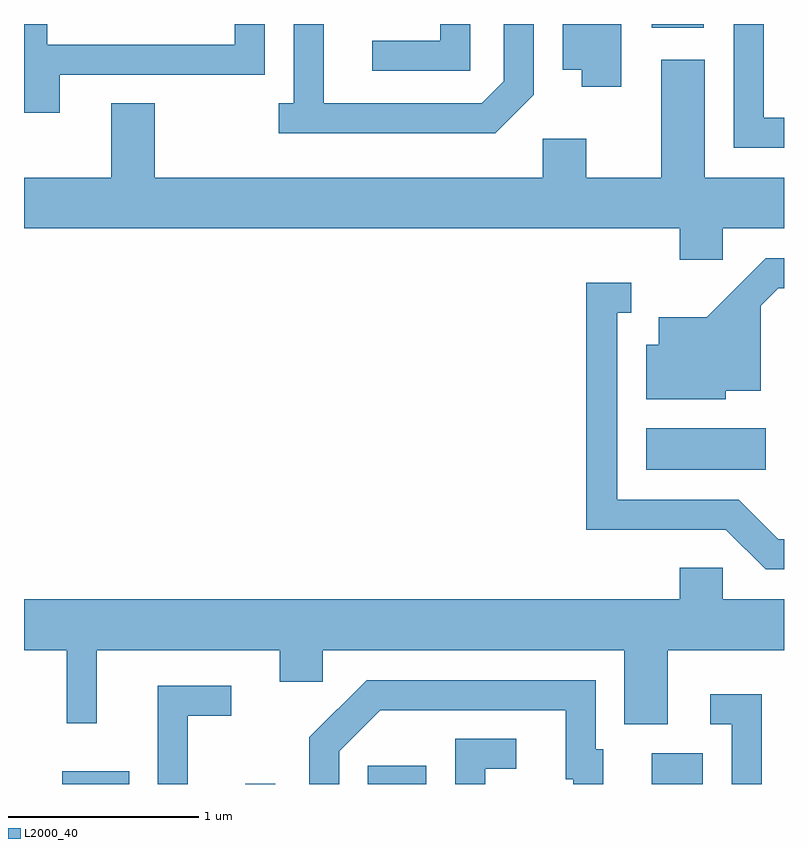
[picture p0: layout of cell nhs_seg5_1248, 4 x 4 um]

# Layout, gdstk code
import gdstk
lib = gdstk.Library(unit=1e-6, precision=1e-09)
def R(c, l, rs):  # rectangles x0, y0, x1, y1
    for r in rs: c.add(gdstk.rectangle(r[:2], r[2:], *l))
def P(c, l, *ps):  # polygons
    for p in ps: c.add(gdstk.Polygon(p, *l))
L2000_40 = (2000, 40)

nhs_seg5_1248 = lib.new_cell('nhs_seg5_1248')
R(nhs_seg5_1248, L2000_40, [(221.811,1476.072,222.164,1476.139), (222.776,1476.072,222.934,1476.073), (223.421,1476.072,223.729,1476.169), (224.916,1476.072,225.184,1476.234), (224.886,1477.726,225.514,1477.944), (224.916,1480.051,225.189,1480.072)])
P(nhs_seg5_1248, L2000_40, [(221.799,1479.806),(222.879,1479.806),(222.879,1480.072),(222.721,1480.072),(222.721,1479.964),(221.734,1479.964),(221.734,1480.072),(221.611,1480.072),(221.611,1479.606),(221.799,1479.606)],
  [(225.611,1479.579),(225.504,1479.579),(225.504,1480.072),(225.346,1480.072),(225.346,1479.421),(225.611,1479.421)],
  [(223.959,1480.072),(223.801,1480.072),(223.801,1479.984),(223.443,1479.984),(223.443,1479.826),(223.959,1479.826)],
  [(224.294,1479.699),(224.294,1480.072),(224.136,1480.072),(224.136,1479.772),(224.019,1479.654),(223.189,1479.654),(223.189,1480.072),(223.031,1480.072),(223.031,1479.654),(222.953,1479.654),(222.953,1479.496),(224.092,1479.496)],
  [(224.754,1480.072),(224.446,1480.072),(224.446,1479.831),(224.546,1479.831),(224.546,1479.741),(224.754,1479.741)],
  [(225.194,1479.884),(224.966,1479.884),(224.966,1479.264),(224.569,1479.264),(224.569,1479.469),(224.341,1479.469),(224.341,1479.264),(222.299,1479.264),(222.299,1479.654),(222.071,1479.654),(222.071,1479.264),(221.611,1479.264),(221.611,1478.996),(225.061,1478.996),(225.061,1478.831),(225.289,1478.831),(225.289,1478.996),(225.611,1478.996),(225.611,1479.264),(225.194,1479.264)],
  [(225.304,1478.141),(225.489,1478.141),(225.489,1478.589),(225.582,1478.681),(225.611,1478.681),(225.611,1478.839),(225.514,1478.839),(225.204,1478.529),(224.951,1478.529),(224.951,1478.384),(224.886,1478.384),(224.886,1478.096),(225.304,1478.096)],
  [(225.611,1477.359),(225.582,1477.359),(225.372,1477.569),(224.734,1477.569),(224.734,1478.551),(224.808,1478.551),(224.808,1478.709),(224.571,1478.709),(224.571,1477.411),(225.304,1477.411),(225.514,1477.201),(225.611,1477.201)],
  [(224.999,1476.776),(225.611,1476.776),(225.611,1477.044),(225.289,1477.044),(225.289,1477.209),(225.061,1477.209),(225.061,1477.044),(221.611,1477.044),(221.611,1476.776),(221.836,1476.776),(221.836,1476.393),(221.994,1476.393),(221.994,1476.776),(222.956,1476.776),(222.956,1476.611),(223.184,1476.611),(223.184,1476.776),(224.771,1476.776),(224.771,1476.386),(224.999,1476.386)],
  [(223.269,1476.244),(223.487,1476.461),(224.461,1476.461),(224.461,1476.096),(224.501,1476.096),(224.501,1476.072),(224.659,1476.072),(224.659,1476.254),(224.619,1476.254),(224.619,1476.619),(223.414,1476.619),(223.111,1476.317),(223.111,1476.072),(223.269,1476.072)],
  [(222.474,1476.431),(222.703,1476.431),(222.703,1476.589),(222.316,1476.589),(222.316,1476.072),(222.474,1476.072)],
  [(225.494,1476.544),(225.223,1476.544),(225.223,1476.386),(225.336,1476.386),(225.336,1476.072),(225.494,1476.072)],
  [(224.039,1476.151),(224.203,1476.151),(224.203,1476.309),(223.881,1476.309),(223.881,1476.072),(224.039,1476.072)])

lib.write_gds('nhs_seg5_1248.gds')
